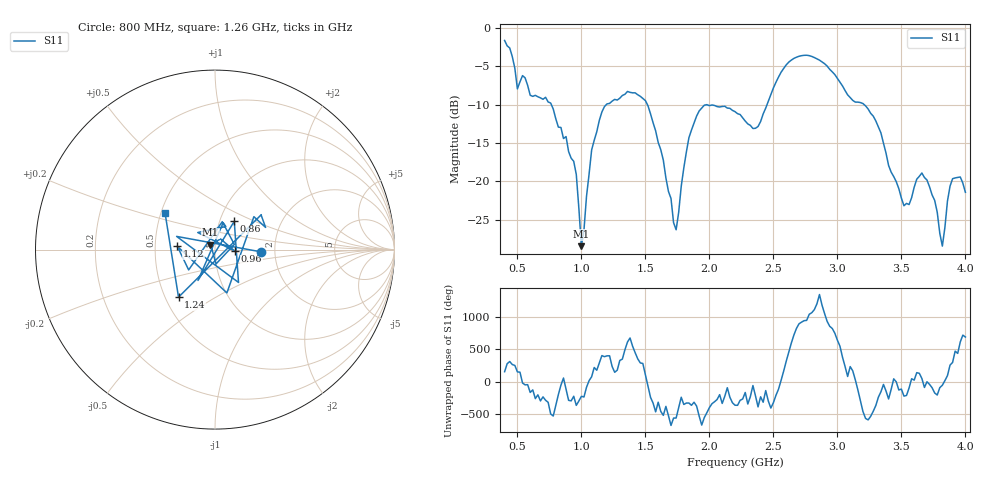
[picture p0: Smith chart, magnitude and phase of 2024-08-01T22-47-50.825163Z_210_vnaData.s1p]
!Created with skrf (http://scikit-rf.org).
# Hz S RI R 50.0
!freq ReS11 ImS11
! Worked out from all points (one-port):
!   181 points, 400 MHz to 4 GHz, reference 50 ohm
!   lowest |S11| = -28.4 dB at 1 GHz (marker M1), VSWR 1.08, Z = 47.4 + j2.57 ohm
!   |S11| at or under -10 dB: 1.517 GHz to 1.975 GHz (458.2 MHz wide, 26.2 % of centre); 1.983 GHz to 2.45 GHz (466.8 MHz wide, 21.1 % of centre); 3.211 GHz to end of sweep (the widest 3 of 4)
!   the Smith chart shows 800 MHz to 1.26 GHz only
!   S11 on the Smith chart (normalised r, x): 800 MHz: 1.69, -0.04; 860 MHz: 1.17, +0.38; 960 MHz: 1.25, -0.02; 1.12 GHz: 0.65, +0.03; 1.24 GHz: 0.59, -0.35; 1.26 GHz: 0.53, +0.24
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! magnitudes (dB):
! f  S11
! 400 MHz  -1.6
! 500 MHz  -7.9
! 800 MHz  -11.8
! 860 MHz  -14.4
! 960 MHz  -19.1
! 1 GHz  -28.4
! 1.08 GHz  -15.9
! 1.12 GHz  -13.5
! 1.24 GHz  -9.5
! 1.26 GHz  -9.3
! 1.3 GHz  -9.1
! 1.5 GHz  -9.5
! 1.64 GHz  -17.2
! 1.72 GHz  -25.4
! 1.76 GHz  -24.0
! 1.84 GHz  -14.3
! 1.92 GHz  -10.8
! 2.2 GHz  -10.9
! 2.38 GHz  -12.8
! 2.66 GHz  -3.9
! 3.1 GHz  -9.1
! 3.28 GHz  -11.5
! 3.56 GHz  -23.0
! 3.66 GHz  -18.9
! 3.76 GHz  -22.5
! 3.82 GHz  -28.4
! 3.9 GHz  -19.6
! 4 GHz  -21.4
